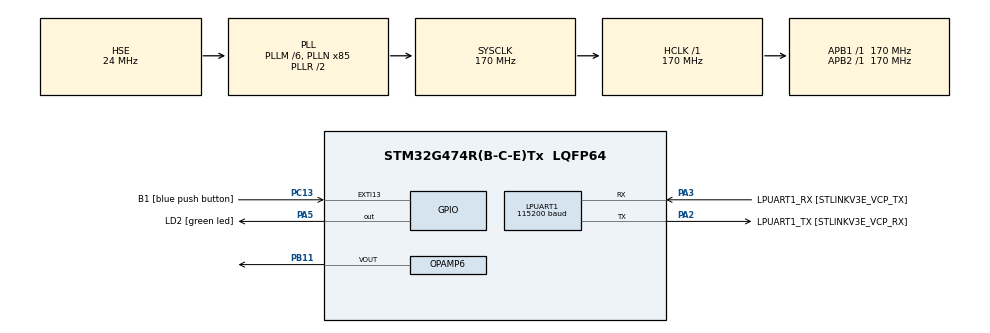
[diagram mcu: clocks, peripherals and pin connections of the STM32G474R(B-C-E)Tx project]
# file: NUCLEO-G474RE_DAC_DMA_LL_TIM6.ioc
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Mcu.Family=STM32G4
RCC.CortexFreq_Value=170000000
Dma.DAC3_CH1.0.Polarity=HAL_DMAMUX_REQ_GEN_RISING
Dma.DAC3_CH1.0.MemInc=DMA_MINC_ENABLE
PA14.GPIO_Label=T_SWCLK
Dma.DAC3_CH1.0.PeriphInc=DMA_PINC_DISABLE
LPUART1.WordLength=UART_WORDLENGTH_8B
PC13.GPIO_Label=B1 [blue push button]
PB11.Signal=OPAMP6_VOUT
RCC.SYSCLKSource=RCC_SYSCLKSOURCE_PLLCLK
ProjectManager.StackSize=0x400
Dma.DAC3_CH1.0.MemDataAlignment=DMA_MDATAALIGN_HALFWORD
Dma.DAC3_CH1.0.SyncPolarity=HAL_DMAMUX_SYNC_NO_EVENT
Dma.DAC3_CH1.0.SyncEnable=DISABLE
RCC.HCLKFreq_Value=170000000
RCC.APB2TimFreq_Value=170000000
DAC3.DAC_Trigger_OUT1-DAC_OUT1_Int=DAC_TRIGGER_T6_TRGO
RCC.AHBFreq_Value=170000000
NVIC.EXTI15_10_IRQn=true\:0\:0\:false\:false\:true\:true\:true
RCC.HSE_VALUE=24000000
PB3.Mode=Trace_Asynchronous_SW
OPAMP6.PowerMode=OPAMP_POWERMODE_HIGHSPEED
RCC.ADC12Freq_Value=170000000
RCC.RTCClockSelection=RCC_RTCCLKSOURCE_LSE
VP_DAC3_VS_DACI1.Mode=DAC_OUT1_Int
PC14-OSC32_IN.Mode=LSE-External-Oscillator
PA14.Mode=Trace_Asynchronous_SW
VP_SYS_VS_DBSignals.Mode=DisableDeadBatterySignals
Mcu.Package=LQFP64
Dma.DAC3_CH1.0.Mode=DMA_CIRCULAR
TIM6.PeriodNoDither=10-1
PA2.GPIO_Label=LPUART1_TX [STLINKV3E_VCP_RX]
RCC.APB1TimFreq_Value=170000000
PF1-OSC_OUT.Mode=HSE-External-Oscillator
Dma.Request0=DAC3_CH1
PF1-OSC_OUT.Signal=RCC_OSC_OUT
RCC.HSI48_VALUE=48000000
PA3.Signal=LPUART1_RX
PB3.GPIO_Label=T_SWO
RCC.PLLSourceVirtual=RCC_PLLSOURCE_HSE
PC15-OSC32_OUT.Mode=LSE-External-Oscillator
PC13.Signal=GPXTI13
TIM6.Prescaler=16
VP_TIM6_VS_ClockSourceINT.Mode=Enable_Timer
RCC.EXTERNAL_CLOCK_VALUE=12288000
PC14-OSC32_IN.Signal=RCC_OSC32_IN
Dma.DAC3_CH1.0.Instance=DMA1_Channel1
PA13.Signal=SYS_JTMS-SWDIO
PA3.Mode=Asynchronous
Dma.DAC3_CH1.0.Direction=DMA_MEMORY_TO_PERIPH
TIM6.AutoReloadPreload=TIM_AUTORELOAD_PRELOAD_DISABLE
PB11.Mode=Follower-DAC_OUT2-INP
ProjectManager.TargetToolchain=STM32CubeIDE
RCC.USBFreq_Value=170000000
PC15-OSC32_OUT.Signal=RCC_OSC32_OUT
PF0-OSC_IN.Mode=HSE-External-Oscillator
Dma.DAC3_CH1.0.EventEnable=DISABLE
PA5.Signal=GPIO_Output
Dma.DAC3_CH1.0.SyncRequestNumber=1
board=NUCLEO-G474RE
RCC.VCOOutputFreq_Value=340000000
RCC.ADC345Freq_Value=170000000
RCC.APB2Freq_Value=170000000
TIM6.TIM_MasterOutputTrigger=TIM_TRGO_UPDATE
Dma.DAC3_CH1.0.SignalID=NONE
PA13.Mode=Trace_Asynchronous_SW
Mcu.Name=STM32G474R(B-C-E)Tx
LPUART1.BaudRate=115200
PA13.GPIO_Label=T_SWDIO
PA2.Signal=LPUART1_TX
Dma.DAC3_CH1.0.PeriphDataAlignment=DMA_PDATAALIGN_WORD
Dma.DAC3_CH1.0.Priority=DMA_PRIORITY_LOW
PB3.Signal=SYS_JTDO-SWO
RCC.SYSCLKFreq_VALUE=170000000
DAC3.DAC_HighFrequency_OUT1-DAC_OUT1_Int=DAC_HIGH_FREQUENCY_INTERFACE_MODE_ABOVE_160MHZ
PA5.GPIO_Label=LD2 [green led]
Dma.DAC3_CH1.0.RequestNumber=1
PA14.Signal=SYS_JTCK-SWCLK
ProjectManager.HeapSize=0x200
RCC.HSI_VALUE=16000000
NVIC.PriorityGroup=NVIC_PRIORITYGROUP_4
RCC.PLLM=RCC_PLLM_DIV6
RCC.PLLN=85
Dma.DAC3_CH1.0.SyncSignalID=NONE
PA2.Mode=Asynchronous
NVIC.DMA1_Channel1_IRQn=true\:0\:0\:false\:false\:true\:false\:true
PF0-OSC_IN.Signal=RCC_OSC_IN
RCC.APB1Freq_Value=170000000
PA3.GPIO_Label=LPUART1_RX [STLINKV3E_VCP_TX]

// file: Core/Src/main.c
/* USER CODE BEGIN Header */
/**
  ******************************************************************************
  * @file           : main.c
  * @brief          : Main program body
  ******************************************************************************
  * @attention
  *
  * <h2><center>&copy; Copyright (c) 2021 STMicroelectronics.
  * All rights reserved.</center></h2>
  *
  * This software component is licensed by ST under BSD 3-Clause license,
  * the "License"; You may not use this file except in compliance with the
  * License. You may obtain a copy of the License at:
  *                        opensource.org/licenses/BSD-3-Clause
  *
  ******************************************************************************
  */
/* USER CODE END Header */
#include "main.h"

/* USER CODE BEGIN PD */

#define Sine12bit_SIZE       (sizeof (Sine12bit) / sizeof (uint16_t))

/* USER CODE END PD */

UART_HandleTypeDef hlpuart1;

/* USER CODE BEGIN PV */

const uint16_t Sine12bit[] = { 511,  611,  707,  796,  873,  937,  984, 1013,
                                1023, 1013,  984,  937,  873,  796,  707,  611,
                                 511,  412,  315,  227,  149,   86,   38,    9,
                                   0,    9,   38,   86,  149,  227,  315,  412};

/* USER CODE END PV */

void SystemClock_Config(void);
static void MX_GPIO_Init(void);
static void MX_DMA_Init(void);
static void MX_LPUART1_UART_Init(void);
static void MX_DAC3_Init(void);
static void MX_OPAMP6_Init(void);
static void MX_TIM6_Init(void);
/* USER CODE BEGIN PFP */

void LL_EnableDMA_DAC3(void);
void LL_Activate_OPAMP6(void);
void LL_Activate_DAC3(void);

/* USER CODE END PFP */

int main(void)
{

  /* MCU Configuration--------------------------------------------------------*/

  /* Reset of all peripherals, Initializes the Flash interface and the Systick. */
  HAL_Init();

  /* Configure the system clock */
  SystemClock_Config();

  /* Initialize all configured peripherals */
  MX_GPIO_Init();
  MX_DMA_Init();
  MX_LPUART1_UART_Init();
  MX_DAC3_Init();
  MX_OPAMP6_Init();
  MX_TIM6_Init();
  /* USER CODE BEGIN 2 */

  LL_EnableDMA_DAC3();
  LL_Activate_OPAMP6();
  LL_Activate_DAC3();
  LL_TIM_EnableCounter(TIM6);

  /* USER CODE END 2 */

  /* Infinite loop */
  while (1)
  {

  }
}

void SystemClock_Config(void)
{
  RCC_OscInitTypeDef RCC_OscInitStruct = {0};
  RCC_ClkInitTypeDef RCC_ClkInitStruct = {0};
  RCC_PeriphCLKInitTypeDef PeriphClkInit = {0};

  /** Configure the main internal regulator output voltage
  */
  HAL_PWREx_ControlVoltageScaling(PWR_REGULATOR_VOLTAGE_SCALE1_BOOST);
  /** Initializes the RCC Oscillators according to the specified parameters
  * in the RCC_OscInitTypeDef structure.
  */
  RCC_OscInitStruct.OscillatorType = RCC_OSCILLATORTYPE_HSE;
  RCC_OscInitStruct.HSEState = RCC_HSE_ON;
  RCC_OscInitStruct.PLL.PLLState = RCC_PLL_ON;
  RCC_OscInitStruct.PLL.PLLSource = RCC_PLLSOURCE_HSE;
  RCC_OscInitStruct.PLL.PLLM = RCC_PLLM_DIV6;
  RCC_OscInitStruct.PLL.PLLN = 85;
  RCC_OscInitStruct.PLL.PLLP = RCC_PLLP_DIV2;
  RCC_OscInitStruct.PLL.PLLQ = RCC_PLLQ_DIV2;
  RCC_OscInitStruct.PLL.PLLR = RCC_PLLR_DIV2;
  if (HAL_RCC_OscConfig(&RCC_OscInitStruct) != HAL_OK)
  {
    Error_Handler();
  }
  /** Initializes the CPU, AHB and APB buses clocks
  */
  RCC_ClkInitStruct.ClockType = RCC_CLOCKTYPE_HCLK|RCC_CLOCKTYPE_SYSCLK
                              |RCC_CLOCKTYPE_PCLK1|RCC_CLOCKTYPE_PCLK2;
  RCC_ClkInitStruct.SYSCLKSource = RCC_SYSCLKSOURCE_PLLCLK;
  RCC_ClkInitStruct.AHBCLKDivider = RCC_SYSCLK_DIV1;
  RCC_ClkInitStruct.APB1CLKDivider = RCC_HCLK_DIV1;
  RCC_ClkInitStruct.APB2CLKDivider = RCC_HCLK_DIV1;

  if (HAL_RCC_ClockConfig(&RCC_ClkInitStruct, FLASH_LATENCY_4) != HAL_OK)
  {
    Error_Handler();
  }
  /** Initializes the peripherals clocks
  */
  PeriphClkInit.PeriphClockSelection = RCC_PERIPHCLK_LPUART1;
  PeriphClkInit.Lpuart1ClockSelection = RCC_LPUART1CLKSOURCE_PCLK1;
  if (HAL_RCCEx_PeriphCLKConfig(&PeriphClkInit) != HAL_OK)
  {
    Error_Handler();
  }
}

static void MX_DAC3_Init(void)
{

  LL_DAC_InitTypeDef DAC_InitStruct = {0};

  /* Peripheral clock enable */
  LL_AHB2_GRP1_EnableClock(LL_AHB2_GRP1_PERIPH_DAC3);

  /* DAC3 DMA Init */

  /* DAC3_CH1 Init */
  LL_DMA_SetPeriphRequest(DMA1, LL_DMA_CHANNEL_1, LL_DMAMUX_REQ_DAC3_CH1);

  LL_DMA_SetDataTransferDirection(DMA1, LL_DMA_CHANNEL_1, LL_DMA_DIRECTION_MEMORY_TO_PERIPH);

  LL_DMA_SetChannelPriorityLevel(DMA1, LL_DMA_CHANNEL_1, LL_DMA_PRIORITY_LOW);

  LL_DMA_SetMode(DMA1, LL_DMA_CHANNEL_1, LL_DMA_MODE_CIRCULAR);

  LL_DMA_SetPeriphIncMode(DMA1, LL_DMA_CHANNEL_1, LL_DMA_PERIPH_NOINCREMENT);

  LL_DMA_SetMemoryIncMode(DMA1, LL_DMA_CHANNEL_1, LL_DMA_MEMORY_INCREMENT);

  LL_DMA_SetPeriphSize(DMA1, LL_DMA_CHANNEL_1, LL_DMA_PDATAALIGN_WORD);

  LL_DMA_SetMemorySize(DMA1, LL_DMA_CHANNEL_1, LL_DMA_MDATAALIGN_HALFWORD);

  /** DAC channel OUT1 config
  */
  LL_DAC_SetHighFrequencyMode(DAC3, LL_DAC_HIGH_FREQ_MODE_ABOVE_160MHZ);
  LL_DAC_SetSignedFormat(DAC3, LL_DAC_CHANNEL_1, LL_DAC_SIGNED_FORMAT_DISABLE);
  DAC_InitStruct.TriggerSource = LL_DAC_TRIG_EXT_TIM6_TRGO;
  DAC_InitStruct.TriggerSource2 = LL_DAC_TRIG_SOFTWARE;
  DAC_InitStruct.WaveAutoGeneration = LL_DAC_WAVE_AUTO_GENERATION_NONE;
  DAC_InitStruct.OutputBuffer = LL_DAC_OUTPUT_BUFFER_DISABLE;
  DAC_InitStruct.OutputConnection = LL_DAC_OUTPUT_CONNECT_INTERNAL;
  DAC_InitStruct.OutputMode = LL_DAC_OUTPUT_MODE_NORMAL;
  LL_DAC_Init(DAC3, LL_DAC_CHANNEL_1, &DAC_InitStruct);
  LL_DAC_EnableTrigger(DAC3, LL_DAC_CHANNEL_1);
  LL_DAC_DisableDMADoubleDataMode(DAC3, LL_DAC_CHANNEL_1);

}

static void MX_LPUART1_UART_Init(void)
{

  hlpuart1.Instance = LPUART1;
  hlpuart1.Init.BaudRate = 115200;
  hlpuart1.Init.WordLength = UART_WORDLENGTH_8B;
  hlpuart1.Init.StopBits = UART_STOPBITS_1;
  hlpuart1.Init.Parity = UART_PARITY_NONE;
  hlpuart1.Init.Mode = UART_MODE_TX_RX;
  hlpuart1.Init.HwFlowCtl = UART_HWCONTROL_NONE;
  hlpuart1.Init.OneBitSampling = UART_ONE_BIT_SAMPLE_DISABLE;
  hlpuart1.Init.ClockPrescaler = UART_PRESCALER_DIV1;
  hlpuart1.AdvancedInit.AdvFeatureInit = UART_ADVFEATURE_NO_INIT;
  if (HAL_UART_Init(&hlpuart1) != HAL_OK)
  {
    Error_Handler();
  }
  if (HAL_UARTEx_SetTxFifoThreshold(&hlpuart1, UART_TXFIFO_THRESHOLD_1_8) != HAL_OK)
  {
    Error_Handler();
  }
  if (HAL_UARTEx_SetRxFifoThreshold(&hlpuart1, UART_RXFIFO_THRESHOLD_1_8) != HAL_OK)
  {
    Error_Handler();
  }
  if (HAL_UARTEx_DisableFifoMode(&hlpuart1) != HAL_OK)
  {
    Error_Handler();
  }

}

static void MX_OPAMP6_Init(void)
{

  LL_OPAMP_InitTypeDef OPAMP_InitStruct = {0};

  LL_GPIO_InitTypeDef GPIO_InitStruct = {0};

  LL_AHB2_GRP1_EnableClock(LL_AHB2_GRP1_PERIPH_GPIOB);
  /**OPAMP6 GPIO Configuration
  PB11   ------> OPAMP6_VOUT
  */
  GPIO_InitStruct.Pin = LL_GPIO_PIN_11;
  GPIO_InitStruct.Mode = LL_GPIO_MODE_ANALOG;
  GPIO_InitStruct.Pull = LL_GPIO_PULL_NO;
  LL_GPIO_Init(GPIOB, &GPIO_InitStruct);

  OPAMP_InitStruct.PowerMode = LL_OPAMP_POWERMODE_HIGHSPEED;
  OPAMP_InitStruct.FunctionalMode = LL_OPAMP_MODE_FOLLOWER;
  OPAMP_InitStruct.InputNonInverting = LL_OPAMP_INPUT_NONINVERT_DAC;
  LL_OPAMP_Init(OPAMP6, &OPAMP_InitStruct);
  LL_OPAMP_SetInputsMuxMode(OPAMP6, LL_OPAMP_INPUT_MUX_DISABLE);
  LL_OPAMP_SetInternalOutput(OPAMP6, LL_OPAMP_INTERNAL_OUPUT_DISABLED);
  LL_OPAMP_SetTrimmingMode(OPAMP6, LL_OPAMP_TRIMMING_FACTORY);

}

static void MX_TIM6_Init(void)
{

  LL_TIM_InitTypeDef TIM_InitStruct = {0};

  /* Peripheral clock enable */
  LL_APB1_GRP1_EnableClock(LL_APB1_GRP1_PERIPH_TIM6);

  TIM_InitStruct.Prescaler = 16;
  TIM_InitStruct.CounterMode = LL_TIM_COUNTERMODE_UP;
  TIM_InitStruct.Autoreload = 9;
  LL_TIM_Init(TIM6, &TIM_InitStruct);
  LL_TIM_DisableARRPreload(TIM6);
  LL_TIM_SetTriggerOutput(TIM6, LL_TIM_TRGO_UPDATE);
  LL_TIM_DisableMasterSlaveMode(TIM6);

}

static void MX_DMA_Init(void)
{

  /* DMA controller clock enable */
  __HAL_RCC_DMAMUX1_CLK_ENABLE();
  __HAL_RCC_DMA1_CLK_ENABLE();

  /* DMA interrupt init */
  /* DMA1_Channel1_IRQn interrupt configuration */
  NVIC_SetPriority(DMA1_Channel1_IRQn, NVIC_EncodePriority(NVIC_GetPriorityGrouping(),0, 0));
  NVIC_EnableIRQ(DMA1_Channel1_IRQn);

}

static void MX_GPIO_Init(void)
{
  GPIO_InitTypeDef GPIO_InitStruct = {0};

  /* GPIO Ports Clock Enable */
  __HAL_RCC_GPIOC_CLK_ENABLE();
  __HAL_RCC_GPIOF_CLK_ENABLE();
  __HAL_RCC_GPIOA_CLK_ENABLE();
  __HAL_RCC_GPIOB_CLK_ENABLE();

  /*Configure GPIO pin Output Level */
  HAL_GPIO_WritePin(LD2_GPIO_Port, LD2_Pin, GPIO_PIN_RESET);

  /*Configure GPIO pin : B1_Pin */
  GPIO_InitStruct.Pin = B1_Pin;
  GPIO_InitStruct.Mode = GPIO_MODE_IT_RISING;
  GPIO_InitStruct.Pull = GPIO_NOPULL;
  HAL_GPIO_Init(B1_GPIO_Port, &GPIO_InitStruct);

  /*Configure GPIO pin : LD2_Pin */
  GPIO_InitStruct.Pin = LD2_Pin;
  GPIO_InitStruct.Mode = GPIO_MODE_OUTPUT_PP;
  GPIO_InitStruct.Pull = GPIO_NOPULL;
  GPIO_InitStruct.Speed = GPIO_SPEED_FREQ_LOW;
  HAL_GPIO_Init(LD2_GPIO_Port, &GPIO_InitStruct);

  /* EXTI interrupt init*/
  HAL_NVIC_SetPriority(EXTI15_10_IRQn, 0, 0);
  HAL_NVIC_EnableIRQ(EXTI15_10_IRQn);

}

/* USER CODE BEGIN 4 */

void LL_EnableDMA_DAC3(void)
{
	  /* Set DMA transfer addresses of source and destination */
	  LL_DMA_ConfigAddresses(DMA1,
	                         LL_DMA_CHANNEL_1,
	                         (uint32_t)&Sine12bit,
	                         LL_DAC_DMA_GetRegAddr(DAC3, LL_DAC_CHANNEL_1, LL_DAC_DMA_REG_DATA_12BITS_RIGHT_ALIGNED),
	                         LL_DMA_DIRECTION_MEMORY_TO_PERIPH);

	  /* Set DMA transfer size */
	  LL_DMA_SetDataLength(DMA1,
	                       LL_DMA_CHANNEL_1,
						   Sine12bit_SIZE);

	  /* Enable DMA transfer interruption: transfer error */
//	  LL_DMA_EnableIT_TE(DMA1,
//	                     LL_DMA_CHANNEL_1);

	  /* Note: In this example, the only DMA interruption activated is            */
	  /*       transfer error.                                                     */
	  /*       If needed, DMA interruptions of half of transfer                   */
	  /*       and transfer complete can be activated.                            */
	  /*       Refer to DMA examples.                                             */

	  /* Activation of DMA */
	  /* Enable the DMA transfer */
	  LL_DMA_EnableChannel(DMA1,
	                       LL_DMA_CHANNEL_1);

	  /* Set DAC mode sample-and-hold timings */
	  // LL_DAC_SetSampleAndHoldSampleTime (DAC1, LL_DAC_CHANNEL_1, 0x3FF);
	  // LL_DAC_SetSampleAndHoldHoldTime   (DAC1, LL_DAC_CHANNEL_1, 0x3FF);
	  // LL_DAC_SetSampleAndHoldRefreshTime(DAC1, LL_DAC_CHANNEL_1, 0xFF);

	  /* Set the mode for the selected DAC channel */
	  // LL_DAC_SetMode(DAC1, LL_DAC_CHANNEL_1, LL_DAC_MODE_NORMAL_OPERATION);

	  /* Enable DAC channel DMA request */
	  LL_DAC_EnableDMAReq(DAC3, LL_DAC_CHANNEL_1);

	  /* Enable interruption DAC channel1 under-run */
//	  LL_DAC_EnableIT_DMAUDR1(DAC1);
}

void LL_Activate_DAC3(void)
{
	__IO uint32_t wait_loop_index = 0;

	/* Enable DAC channel */
	LL_DAC_Enable(DAC3, LL_DAC_CHANNEL_1);

	/* Delay for DAC channel voltage settling time from DAC channel startup.    */
	/* Compute number of CPU cycles to wait for, from delay in us.              */
	/* Note: Variable divided by 2 to compensate partially                      */
	/*       CPU processing cycles (depends on compilation optimization).       */
	/* Note: If system core clock frequency is below 200kHz, wait time          */
	/*       is only a few CPU processing cycles.                               */
	wait_loop_index = ((LL_DAC_DELAY_STARTUP_VOLTAGE_SETTLING_US * (SystemCoreClock / (100000 * 2))) / 10);
	while(wait_loop_index != 0)
	{
		wait_loop_index--;
	}

	/* Enable DAC channel trigger */
	/* Note: DAC channel conversion can start from trigger enable:              */
	/*       - if DAC channel trigger source is set to SW:                      */
	/*         DAC channel conversion will start after trig order               */
	/*         using function "LL_DAC_TrigSWConversion()".                      */
	/*       - if DAC channel trigger source is set to external trigger         */
	/*         (timer, ...):                                                    */
	/*         DAC channel conversion can start immediately                     */
	/*         (after next trig order from external trigger)                    */
	LL_DAC_EnableTrigger(DAC3, LL_DAC_CHANNEL_1);
}

void LL_Activate_OPAMP6(void)
{
	__IO uint32_t wait_loop_index = 0;

	/* Enable OPAMP */
	LL_OPAMP_Enable(OPAMP6);

	/* Delay for OPAMP startup time.                                            */
	/* Compute number of CPU cycles to wait for, from delay in us.              */
	/* Note: Variable divided by 2 to compensate partially                      */
	/*       CPU processing cycles (depends on compilation optimization).       */
	/* Note: If system core clock frequency is below 200kHz, wait time          */
	/*       is only a few CPU processing cycles.                               */
	wait_loop_index = ((LL_OPAMP_DELAY_STARTUP_US * (SystemCoreClock / (100000 * 2))) / 10);
	while(wait_loop_index != 0)
	{
		wait_loop_index--;
	}
}

/* USER CODE END 4 */

void Error_Handler(void)
{
  __disable_irq();
  while (1)
  {
  }
}

/************************ (C) COPYRIGHT STMicroelectronics *****END OF FILE****/
